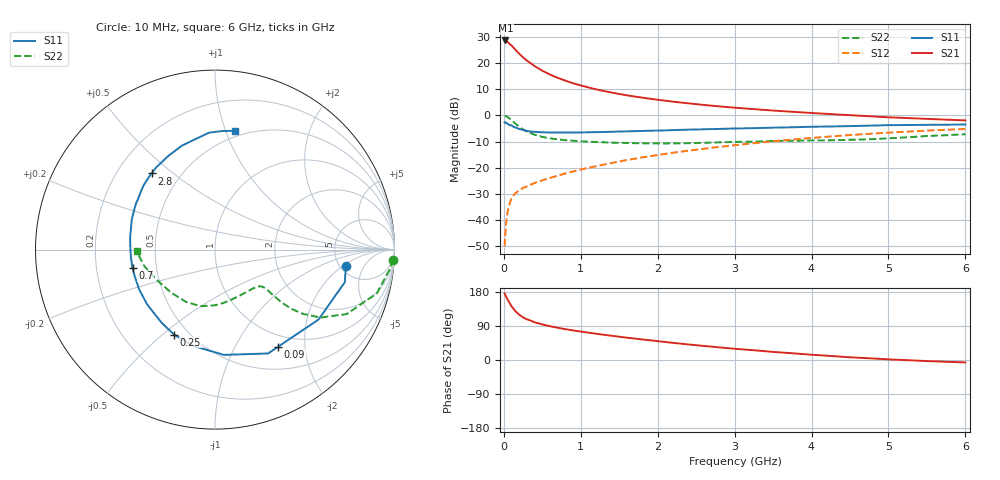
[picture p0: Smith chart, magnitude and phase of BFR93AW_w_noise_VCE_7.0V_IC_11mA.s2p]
! Infineon Technologies  Discrete & RF Semiconductors
! BFR93AW
! VCE =  7.0 V,  IC =  11 mA
! Common Emitter S-Parameters:  Jan 2017
# GHz  S  MA  R  50
!  f  S11  S21  S12  S22
! GHz  MAG  ANG  MAG  ANG  MAG  ANG  MAG  ANG
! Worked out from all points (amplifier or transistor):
!   77 points, 10 MHz to 6 GHz, reference 50 ohm
!   highest |S21| = 28.8 dB at 20 MHz (marker M1)
!   |S21| within 3 dB of that: start of sweep to 132.8 MHz
!   unconditionally stable (mu >= 1): 853.8 MHz to 2.086 GHz
!   at 130 MHz: K = 0.31, MSG = 28.2 dB, |S12| = -30.6 dB
!   at 2.2 GHz: K = 0.99, MSG = 9.8 dB, |S12| = -14.3 dB
!   at 6 GHz: K = 0.86, MSG = 1.6 dB, |S12| = -5.2 dB
!   lowest NFmin = 1.26 dB at 450 MHz
!   S11 on the Smith chart (normalised r, x): 10 MHz: 5.65, -2.23; 90 MHz: 0.82, -1.52; 250 MHz: 0.42, -0.55; 700 MHz: 0.36, -0.10; 2.8 GHz: 0.35, +0.42; 6 GHz: 0.45, +1.08
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0.01  0.7352 -7.1  27.34 175.3  0.0031 91.3  0.993 -3.2
0.02  0.7455 -14.1  27.55 171.1  0.0056 90.9  0.979 -6.5
0.05  0.6963 -34.0  25.73 158.6  0.0145 75.4  0.9345 -15.1
0.09  0.6454 -56.9  22.59 145.3  0.0235 66.2  0.8374 -23.7
0.1  0.6499 -62.9  22.02 141.4  0.0258 64.9  0.8165 -26.1
0.15  0.5886 -85.2  18.35 128.7  0.0322 56.7  0.6988 -32.8
0.2  0.5503 -102.5  15.34 119.5  0.0365 53.8  0.608 -36.1
0.25  0.5256 -115.8  13.07 112.5  0.0408 52.5  0.5413 -37.7
0.3  0.5046 -126.1  11.29 107.4  0.0435 52.0  0.4902 -38.3
0.4  0.486 -141.1  8.853 99.5  0.0506 53.8  0.4268 -38.2
0.5  0.477 -152.4  7.223 93.8  0.0569 55.7  0.3887 -37.9
0.6  0.4715 -160.6  6.112 89.1  0.0633 57.5  0.3645 -37.5
0.7  0.4707 -167.3  5.278 85.1  0.0698 59.3  0.3478 -37.6
0.9  0.4706 -177.9  4.156 78.1  0.0842 62.1  0.3274 -38.8
1.1  0.4759 173.5  3.451 72.2  0.099 63.8  0.3143 -41.1
1.5  0.4922 160.6  2.584 61.5  0.1309 65.5  0.2988 -48.3
2.1  0.5175 144.7  1.922 47.5  0.1835 64.4  0.2907 -64.2
2.8  0.5525 129.8  1.496 33.3  0.2492 60.5  0.3054 -85.0
3.1  0.5656 123.9  1.375 28.1  0.2787 58.1  0.3122 -93.5
4.1  0.6104 106.1  1.095 12.6  0.3805 48.6  0.3326 -122.1
5.1  0.6538 91.5  0.91 0.8  0.4769 37.2  0.371 -155.5
6  0.6706 80.6  0.804 -6.5  0.5511 26.2  0.4368 -178.7
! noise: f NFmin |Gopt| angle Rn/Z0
0.45  1.26  0.12  111  0.13
0.9  1.57  0.23  157  0.14
1.9  2.62  0.47  -146  0.18
2.4  3.24  0.54  -130  0.37
